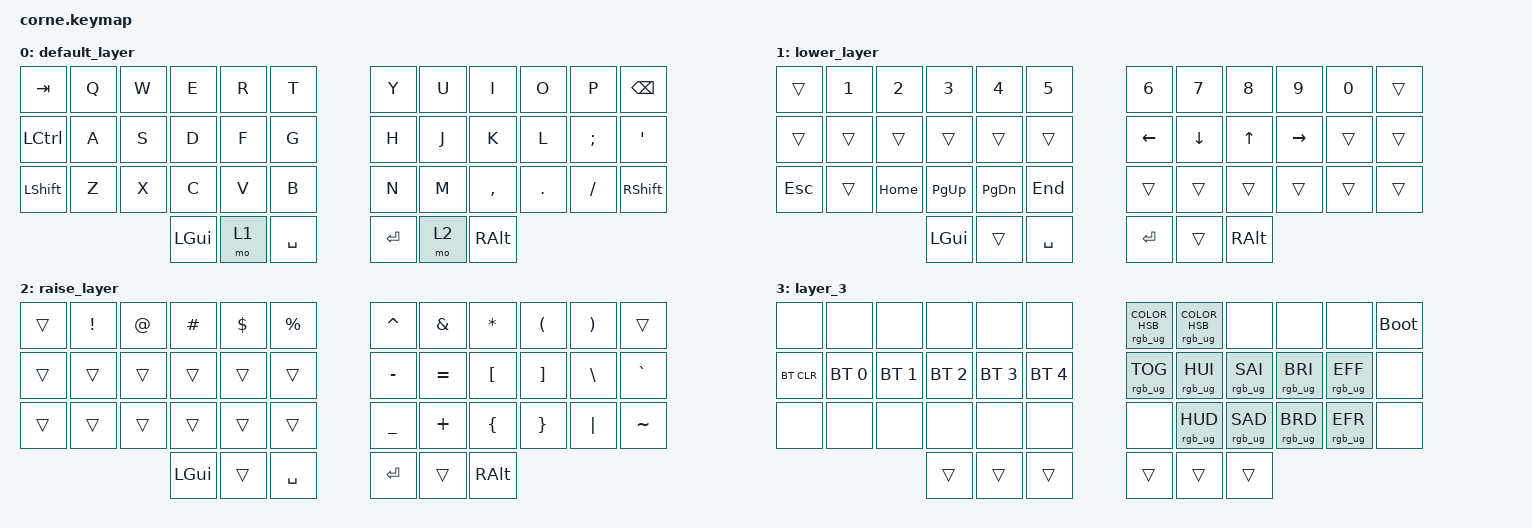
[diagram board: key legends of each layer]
/*
 * Copyright (c) 2020 The ZMK Contributors
 *
 * SPDX-License-Identifier: MIT
 */

#include <behaviors.dtsi>
#include <dt-bindings/zmk/bt.h>
#include <dt-bindings/zmk/keys.h>
#include <dt-bindings/zmk/rgb.h>

/ {
    keymap {
        compatible = "zmk,keymap";

        default_layer {
            // -----------------------------------------------------------------------------------------
            // |  TAB |  Q  |  W  |  E  |  R  |  T  |   |  Y  |  U   |  I  |  O  |  P  | BSPC |
            // | CTRL |  A  |  S  |  D  |  F  |  G  |   |  H  |  J   |  K  |  L  |  ;  |  '   |
            // | SHFT |  Z  |  X  |  C  |  V  |  B  |   |  N  |  M   |  ,  |  .  |  /  | ESC  |
            //                    | GUI | LWR | SPC |   | ENT | RSE  | ALT |

            bindings = <
&kp TAB         &kp Q  &kp W  &kp E     &kp R  &kp T        &kp Y    &kp U  &kp I      &kp O    &kp P     &kp BSPC
&kp LCTRL       &kp A  &kp S  &kp D     &kp F  &kp G        &kp H    &kp J  &kp K      &kp L    &kp SEMI  &kp SQT
&kp LEFT_SHIFT  &kp Z  &kp X  &kp C     &kp V  &kp B        &kp N    &kp M  &kp COMMA  &kp DOT  &kp FSLH  &kp RIGHT_SHIFT
                              &kp LGUI  &mo 1  &kp SPACE    &kp RET  &mo 2  &kp RALT
            >;
        };

        lower_layer {
            // -----------------------------------------------------------------------------------------
            // |  TAB |  1  |  2  |  3  |  4  |  5  |   |  6  |  7  |  8  |  9  |  0  | BSPC |
            // | BTCLR| BT1 | BT2 | BT3 | BT4 | BT5 |   | LFT | DWN |  UP | RGT |     |      |
            // | SHFT |     |     |     |     |     |   |     |     |     |     |     |      |
            //                    | GUI |     | SPC |   | ENT |     | ALT |

            bindings = <
&trans   &kp N1  &kp N2    &kp N3       &kp N4         &kp N5       &kp N6    &kp N7    &kp N8    &kp N9     &kp N0  &trans
&trans   &trans  &trans    &trans       &trans         &trans       &kp LEFT  &kp DOWN  &kp UP    &kp RIGHT  &trans  &trans
&kp ESC  &trans  &kp HOME  &kp PAGE_UP  &kp PAGE_DOWN  &kp END      &trans    &trans    &trans    &trans     &trans  &trans
                           &kp LGUI     &trans         &kp SPACE    &kp RET   &trans    &kp RALT
            >;
        };

        raise_layer {
            // -----------------------------------------------------------------------------------------
            // |  TAB |  !  |  @  |  #  |  $  |  %  |   |  ^  |  &  |  *  |  (  |  )  | BSPC |
            // | CTRL |     |     |     |     |     |   |  -  |  =  |  [  |  ]  |  \  |  `   |
            // | SHFT |     |     |     |     |     |   |  _  |  +  |  {  |  }  | "|" |  ~   |
            //                    | GUI |     | SPC |   | ENT |     | ALT |

            bindings = <
&trans  &kp EXCL  &kp AT  &kp HASH  &kp DLLR  &kp PRCNT    &kp CARET  &kp AMPS   &kp ASTRK  &kp LPAR  &kp RPAR  &trans
&trans  &trans    &trans  &trans    &trans    &trans       &kp MINUS  &kp EQUAL  &kp LBKT   &kp RBKT  &kp BSLH  &kp GRAVE
&trans  &trans    &trans  &trans    &trans    &trans       &kp UNDER  &kp PLUS   &kp LBRC   &kp RBRC  &kp PIPE  &kp TILDE
                          &kp LGUI  &trans    &kp SPACE    &kp RET    &trans     &kp RALT
            >;
        };

        layer_3 {
            bindings = <
&none       &none         &none         &none         &none         &none           &rgb_ug RGB_COLOR_HSB(0,100,60)  &rgb_ug RGB_COLOR_HSB(143,77,47)  &none            &none            &none            &bootloader
&bt BT_CLR  &bt BT_SEL 0  &bt BT_SEL 1  &bt BT_SEL 2  &bt BT_SEL 3  &bt BT_SEL 4    &rgb_ug RGB_TOG                  &rgb_ug RGB_HUI                   &rgb_ug RGB_SAI  &rgb_ug RGB_BRI  &rgb_ug RGB_EFF  &none
&none       &none         &none         &none         &none         &none           &none                            &rgb_ug RGB_HUD                   &rgb_ug RGB_SAD  &rgb_ug RGB_BRD  &rgb_ug RGB_EFR  &none
                                        &trans        &trans        &trans          &trans                           &trans                            &trans
            >;
        };
    };

    conditional_layers {
        compatible = "zmk,conditional-layers";

        cond_layer_3 {
            if-layers = <1 2>;
            then-layer = <3>;
        };
    };
};
